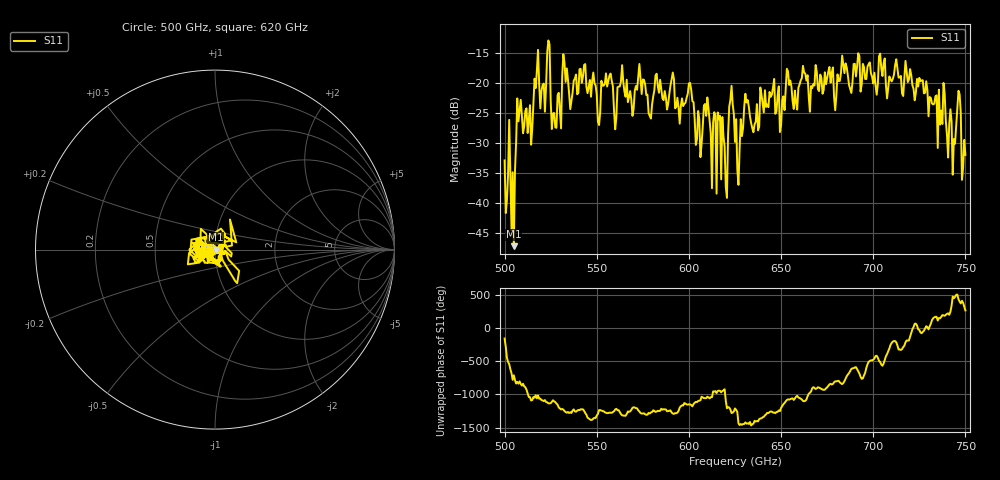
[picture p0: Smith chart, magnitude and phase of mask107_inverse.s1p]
!Created with skrf (http://scikit-rf.org).
# GHz S MA R 50.0
!freq magS11 angS11
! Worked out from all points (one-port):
!   401 points, 500 GHz to 750 GHz, reference 50 ohm
!   lowest |S11| = -47.2 dB at 505 GHz (marker M1), VSWR 1.01, Z = 50.4 + j0.0465 ohm
!   |S11| at or under -10 dB: start of sweep to end of sweep
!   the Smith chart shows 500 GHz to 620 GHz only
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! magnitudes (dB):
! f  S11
! 500 GHz  -33.0
! 505 GHz  -47.2
! 508.1 GHz  -24.6
! 513.8 GHz  -23.8
! 517.5 GHz  -18.0
! 520.6 GHz  -20.4
! 523.8 GHz  -13.0
! 526.9 GHz  -25.0
! 531.2 GHz  -18.9
! 556.2 GHz  -19.8
! 560.6 GHz  -25.7
! 562.5 GHz  -20.6
! 593.8 GHz  -22.5
! 600.6 GHz  -20.0
! 605 GHz  -24.7
! 609.4 GHz  -25.5
! 620 GHz  -37.4
! 623.1 GHz  -20.5
! 625 GHz  -29.9
! 627.5 GHz  -31.1
! 631.2 GHz  -23.3
! 635 GHz  -28.3
! 656.2 GHz  -23.1
! 687.5 GHz  -21.1
! 718.8 GHz  -19.9
! 743.8 GHz  -29.4
! 746.2 GHz  -21.4
! 750 GHz  -32.0
